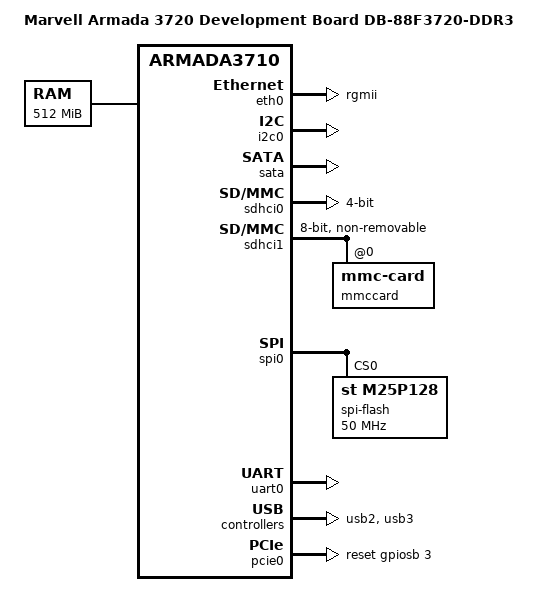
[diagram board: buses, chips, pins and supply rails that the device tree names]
/*
 * Device Tree file for Marvell Armada 3720 development board
 * (DB-88F3720-DDR3)
 * Copyright (C) 2016 Marvell
 *
 * Gregory CLEMENT <gregory.clement@free-electrons.com>
 *
 * This file is dual-licensed: you can use it either under the terms
 * of the GPL or the X11 license, at your option. Note that this dual
 * licensing only applies to this file, and not this project as a
 * whole.
 *
 *  a) This file is free software; you can redistribute it and/or
 *     modify it under the terms of the GNU General Public License as
 *     published by the Free Software Foundation; either version 2 of the
 *     License, or (at your option) any later version.
 *
 *     This file is distributed in the hope that it will be useful
 *     but WITHOUT ANY WARRANTY; without even the implied warranty of
 *     MERCHANTABILITY or FITNESS FOR A PARTICULAR PURPOSE.  See the
 *     GNU General Public License for more details.
 *
 * Or, alternatively
 *
 *  b) Permission is hereby granted, free of charge, to any person
 *     obtaining a copy of this software and associated documentation
 *     files (the "Software"), to deal in the Software without
 *     restriction, including without limitation the rights to use
 *     copy, modify, merge, publish, distribute, sublicense, and/or
 *     sell copies of the Software, and to permit persons to whom the
 *     Software is furnished to do so, subject to the following
 *     conditions:
 *
 *     The above copyright notice and this permission notice shall be
 *     included in all copies or substantial portions of the Software.
 *
 *     THE SOFTWARE IS PROVIDED , WITHOUT WARRANTY OF ANY KIND
 *     EXPRESS OR IMPLIED, INCLUDING BUT NOT LIMITED TO THE WARRANTIES
 *     OF MERCHANTABILITY, FITNESS FOR A PARTICULAR PURPOSE AND
 *     NONINFRINGEMENT. IN NO EVENT SHALL THE AUTHORS OR COPYRIGHT
 *     HOLDERS BE LIABLE FOR ANY CLAIM, DAMAGES OR OTHER LIABILITY
 *     WHETHER IN AN ACTION OF CONTRACT, TORT OR OTHERWISE, ARISING
 *     FROM, OUT OF OR IN CONNECTION WITH THE SOFTWARE OR THE USE OR
 *     OTHER DEALINGS IN THE SOFTWARE.
 */

/dts-v1/;

#include "armada-372x.dtsi"

/ {
	model = "Marvell Armada 3720 Development Board DB-88F3720-DDR3";
	compatible = "marvell,armada-3720-db", "marvell,armada3720", "marvell,armada3710";

	chosen {
		stdout-path = "serial0:115200n8";
	};

	aliases {
		ethernet0 = &eth0;
		i2c0 = &i2c0;
		spi0 = &spi0;
	};

	memory {
		device_type = "memory";
		reg = <0x00000000 0x00000000 0x00000000 0x20000000>;
	};
};

&comphy {
	phy0 {
		phy-type = <PHY_TYPE_PEX0>;
		phy-speed = <PHY_SPEED_2_5G>;
	};

	phy1 {
		phy-type = <PHY_TYPE_USB3_HOST0>;
		phy-speed = <PHY_SPEED_5G>;
	};
};

&eth0 {
	pinctrl-names = "default";
	pinctrl-0 = <&rgmii_pins>, <&smi_pins>;
	status = "okay";
	phy-mode = "rgmii";
};

&i2c0 {
	pinctrl-names = "default";
	pinctrl-0 = <&i2c1_pins>;
	status = "okay";
};

/* CON3 */
&sata {
	status = "okay";
};

&sdhci0 {
	bus-width = <4>;
	pinctrl-names = "default";
	pinctrl-0 = <&sdio_pins>;
	status = "okay";
};

&sdhci1 {
	non-removable;
	bus-width = <8>;
	mmc-ddr-1_8v;
	mmc-hs400-1_8v;
	marvell,pad-type = "fixed-1-8v";
	pinctrl-names = "default";
	pinctrl-0 = <&mmc_pins>;
	status = "okay";

	#address-cells = <1>;
	#size-cells = <0>;
	mmccard: mmccard@0 {
		compatible = "mmc-card";
		reg = <0>;
	};
};

&spi0 {
	status = "okay";
	pinctrl-names = "default";
	pinctrl-0 = <&spi_quad_pins>;

	spi-flash@0 {
		#address-cells = <1>;
		#size-cells = <1>;
		compatible = "st,m25p128", "jedec,spi-nor";
		reg = <0>; /* Chip select 0 */
		spi-max-frequency = <50000000>;
		m25p,fast-read;
	};
};

/* Exported on the micro USB connector CON32 through an FTDI */
&uart0 {
	pinctrl-names = "default";
	pinctrl-0 = <&uart1_pins>;
	status = "okay";
};

/* CON29 */
&usb2 {
	status = "okay";
};

/* CON31 */
&usb3 {
	status = "okay";
};

/* CON17 */
&pcie0 {
	pinctrl-names = "default";
	pinctrl-0 = <&pcie_pins>;
	reset-gpio = <&gpiosb 3 GPIO_ACTIVE_HIGH>;
	status = "okay";
};
